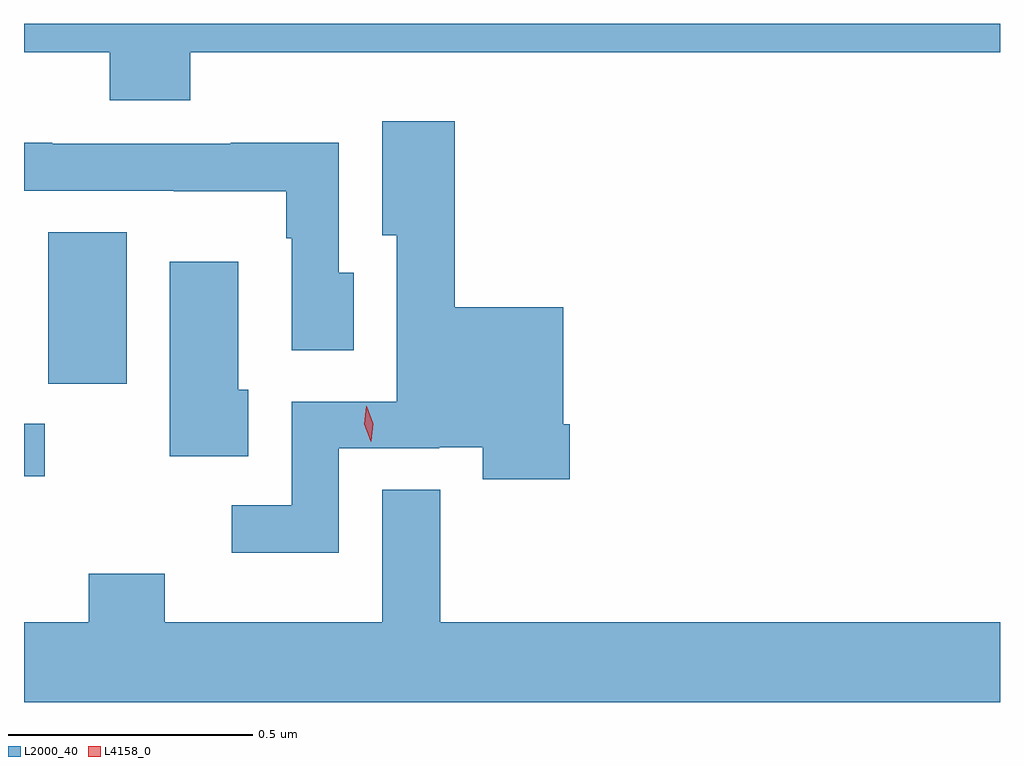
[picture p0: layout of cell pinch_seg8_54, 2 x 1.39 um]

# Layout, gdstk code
import gdstk
lib = gdstk.Library(unit=1e-6, precision=1e-09)
def R(c, l, rs):  # rectangles x0, y0, x1, y1
    for r in rs: c.add(gdstk.rectangle(r[:2], r[2:], *l))
def P(c, l, *ps):  # polygons
    for p in ps: c.add(gdstk.Polygon(p, *l))
L2000_40 = (2000, 40)
L4158_0 = (4158, 0)

pinch_seg8_54 = lib.new_cell('pinch_seg8_54')
R(pinch_seg8_54, L2000_40, [(923.415,1119.627,923.458,1119.735), (923.465,1119.816,923.626,1120.127)])
P(pinch_seg8_54, L2000_40, [(923.756,1120.496),(925.415,1120.496),(925.415,1120.554),(923.415,1120.554),(923.415,1120.496),(923.591,1120.496),(923.591,1120.397),(923.756,1120.397)],
  [(924.06,1119.684),(924.266,1119.684),(924.266,1119.686),(924.355,1119.686),(924.355,1119.621),(924.533,1119.621),(924.533,1119.733),(924.52,1119.733),(924.52,1119.973),(924.298,1119.973),(924.298,1120.354),(924.149,1120.354),(924.149,1120.121),(924.179,1120.121),(924.179,1119.78),(923.964,1119.78),(923.964,1119.567),(923.841,1119.567),(923.841,1119.47),(924.06,1119.47)],
  [(924.091,1120.044),(924.06,1120.044),(924.06,1120.31),(923.839,1120.31),(923.839,1120.308),(923.473,1120.308),(923.473,1120.31),(923.415,1120.31),(923.415,1120.212),(923.722,1120.212),(923.722,1120.211),(923.952,1120.211),(923.952,1120.115),(923.964,1120.115),(923.964,1119.885),(924.091,1119.885)],
  [(923.875,1119.804),(923.854,1119.804),(923.854,1120.066),(923.714,1120.066),(923.714,1119.668),(923.875,1119.668)],
  [(925.415,1119.328),(924.268,1119.328),(924.268,1119.599),(924.149,1119.599),(924.149,1119.328),(923.703,1119.328),(923.703,1119.427),(923.548,1119.427),(923.548,1119.328),(923.415,1119.328),(923.415,1119.164),(925.415,1119.164)])
P(pinch_seg8_54, L4158_0, [(924.127,1119.698),(924.126,1119.699),(924.112,1119.733),(924.116,1119.77),(924.116,1119.77),(924.117,1119.77),(924.131,1119.735),(924.127,1119.699)])

lib.write_gds('pinch_seg8_54.gds')
